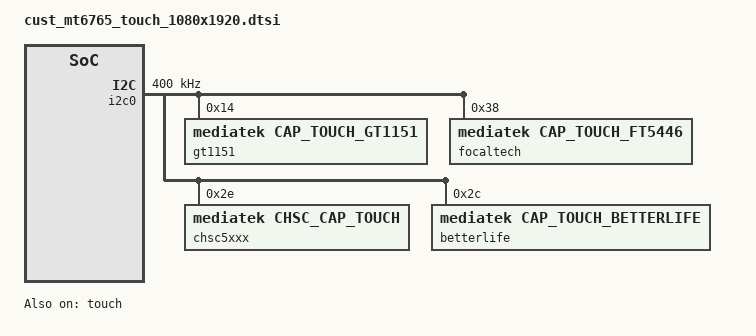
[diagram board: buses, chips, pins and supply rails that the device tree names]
// SPDX-License-Identifier: GPL-2.0+

/* TOUCH start */
#if 0
&i2c0 {
	clock-frequency = <400000>;
	pinctrl-names = "default", "ts_int_active",
		"ts_reset_active", "ts_int_suspend",
		"ts_reset_suspend", "ts_i2c_mode",
		"ts_eint_high";
	pinctrl-0 = <&ctp_pins_default>;
	pinctrl-1 = <&ctp_ts_int_active>;
	pinctrl-2 = <&ctp_ts_reset_active>;
	pinctrl-3 = <&ctp_ts_int_suspend>;
	pinctrl-4 = <&ctp_ts_reset_suspend>;
	pinctrl-5 = <&ctp_ts_i2c_mode>;
	pinctrl-6 = <&ctp_ts_int_as_gpio>;

	gt1151@14 {
		compatible = "goodix,gt1151";
		reg = <0x14>;
		status = "okay";
	};
};

&touch {
	tpd-resolution = <720 1440>;
	lcm-resolution = <720 1440>;
	tpd-cfg-version = "config17";
	tpd-max-touch-num = <5>;
	interrupt-parent = <&pio>;
	interrupts = <0 IRQ_TYPE_EDGE_FALLING 0 0>;
	goodix,eint-gpio = <&pio 0 0x0>;
	goodix,reset-gpio = <&pio 46 0x0>;
	vtouch-supply = <&mt_pmic_vldo28_ldo_reg>;

	/* Rotate cord when open blew lables */
	/*goodix,x2x;*/
	/*goodix,y2y;*/

	tpd-filter-enable = <1>;
	tpd-filter-pixel-density = <146>;
	tpd-filter-custom-prameters = <0 0 0 0 0 0 0 0 0 0 0 0>;
	tpd-filter-custom-speed = <0 0 0>;
	status = "okay";
};
#endif
&i2c0 {
	clock-frequency = <400000>;
	gt1151@14 {
		compatible = "mediatek,cap_touch_gt1151";
		reg = <0x14>;
		status = "okay";
	};
	focaltech@38{
		compatible = "mediatek,cap_touch_ft5446";
		reg = <0x38>;
		status = "okay";
	};
	chsc5xxx@2e {
		compatible = "mediatek,chsc_cap_touch";
		reg = <0x2e>;
		status = "okay";
	};
	betterlife@44 {
		compatible = "mediatek,cap_touch_betterlife";
		reg = <0x2c>;
		status = "okay";
	};
};

&touch {
        tpd-resolution = <720 1440>;
        use-tpd-button = <0>;
        tpd-key-num = <3>;
        tpd-key-local= <139 172 158 0>;
        tpd-key-dim-local = <90 883 100 40 230
                                 883 100 40 370 883 100 40 0 0 0 0>;
        tpd-max-touch-num = <5>;
        tpd-filter-enable = <0>;
        tpd-filter-pixel-density = <146>;
        tpd-filter-custom-prameters = <0 0 0 0 0 0 0 0 0 0 0 0>;
        tpd-filter-custom-speed = <0 0 0>;
        pinctrl-names = "default", "state_eint_as_int", "state_eint_output0",
                "state_eint_output1", "state_rst_output0", "state_rst_output1";
        pinctrl-0 = <&ctp_pins_default>;
        pinctrl-1 = <&ctp_pins_eint_as_int>;
        pinctrl-2 = <&ctp_pins_eint_output0>;
        pinctrl-3 = <&ctp_pins_eint_output1>;
        pinctrl-4 = <&ctp_pins_rst_output0>;
        pinctrl-5 = <&ctp_pins_rst_output1>;
        status = "okay";
};

&pio {
        ctp_pins_default: eint0default {
        };
        ctp_pins_eint_as_int: eint@0 {
                pins_cmd_dat {
                        pinmux = <PINMUX_GPIO0__FUNC_GPIO0>;
                        slew-rate = <0>;
                        bias-disable;
                };
        };
        ctp_pins_eint_output0: eintoutput0 {
                pins_cmd_dat {
                        pinmux = <PINMUX_GPIO0__FUNC_GPIO0>;
                        slew-rate = <1>;
                        output-low;
                };
        };
        ctp_pins_eint_output1: eintoutput1 {
                pins_cmd_dat {
                        pinmux = <PINMUX_GPIO0__FUNC_GPIO0>;
                        slew-rate = <1>;
                        output-high;
                };
        };
        ctp_pins_rst_output0: rstoutput0 {
                pins_cmd_dat {
                        pinmux = <PINMUX_GPIO46__FUNC_GPIO46>;
                        slew-rate = <1>;
                        output-low;
                };
        };
        ctp_pins_rst_output1: rstoutput1 {
                pins_cmd_dat {
                        pinmux = <PINMUX_GPIO46__FUNC_GPIO46>;
                        slew-rate = <1>;
                        output-high;
                };
        };
};
/* TOUCH end */
